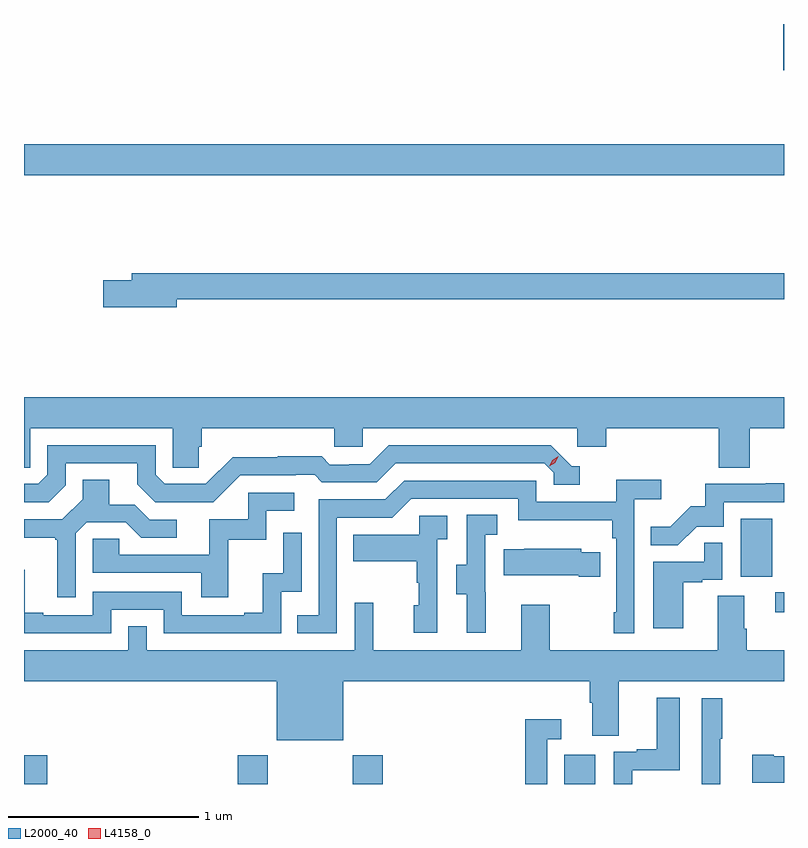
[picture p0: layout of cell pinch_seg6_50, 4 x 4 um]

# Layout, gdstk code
import gdstk
lib = gdstk.Library(unit=1e-6, precision=1e-09)
def R(c, l, rs):  # rectangles x0, y0, x1, y1
    for r in rs: c.add(gdstk.rectangle(r[:2], r[2:], *l))
def P(c, l, *ps):  # polygons
    for p in ps: c.add(gdstk.Polygon(p, *l))
L2000_40 = (2000, 40)
L4158_0 = (4158, 0)

pinch_seg6_50 = lib.new_cell('pinch_seg6_50')
R(pinch_seg6_50, L2000_40, [(983.433,938.804,983.555,938.956), (984.557,938.804,984.717,938.956), (985.162,938.804,985.322,938.956), (986.276,938.804,986.44,938.959), (987.387,939.708,987.433,939.813), (987.206,939.894,987.37,940.201), (983.433,942.008,987.433,942.172), (987.428,942.561,987.433,942.804)])
P(pinch_seg6_50, L2000_40, [(984.238,941.356),(987.433,941.356),(987.433,941.492),(983.999,941.492),(983.999,941.456),(983.85,941.456),(983.85,941.314),(984.238,941.314)],
  [(983.466,940.676),(984.216,940.676),(984.216,940.468),(984.353,940.468),(984.353,940.578),(984.368,940.578),(984.368,940.676),(985.065,940.676),(985.065,940.578),(985.215,940.578),(985.215,940.676),(986.346,940.676),(986.346,940.578),(986.498,940.578),(986.498,940.676),(987.089,940.676),(987.089,940.468),(987.254,940.468),(987.254,940.676),(987.433,940.676),(987.433,940.84),(983.433,940.84),(983.433,940.468),(983.466,940.468)],
  [(983.652,940.377),(983.652,940.491),(984.029,940.491),(984.029,940.381),(984.123,940.287),(984.429,940.287),(984.57,940.428),(984.863,940.428),(984.863,940.431),(984.962,940.431),(985.001,940.392),(985.29,940.392),(985.389,940.491),(986.172,940.491),(986.22,940.443),(986.22,940.38),(986.359,940.38),(986.359,940.476),(986.316,940.476),(986.205,940.587),(985.352,940.587),(985.253,940.488),(985.146,940.488),(985.146,940.485),(985.043,940.485),(985.001,940.528),(984.768,940.528),(984.768,940.525),(984.532,940.525),(984.39,940.383),(984.174,940.383),(984.126,940.431),(984.126,940.587),(983.556,940.587),(983.556,940.431),(983.508,940.383),(983.433,940.383),(983.433,940.287),(983.562,940.287)],
  [(985.08,940.206),(985.371,940.206),(985.47,940.305),(986.034,940.305),(986.034,940.193),(986.53,940.193),(986.53,940.097),(986.55,940.097),(986.55,939.709),(986.538,939.709),(986.538,939.597),(986.646,939.597),(986.646,940.304),(986.788,940.304),(986.788,940.406),(986.549,940.406),(986.549,940.29),(986.13,940.29),(986.13,940.401),(985.433,940.401),(985.334,940.302),(984.984,940.302),(984.984,939.693),(984.871,939.693),(984.871,939.597),(985.08,939.597)],
  [(983.706,940.125),(983.763,940.182),(983.969,940.182),(984.05,940.101),(984.238,940.101),(984.238,940.194),(984.096,940.194),(984.016,940.274),(983.881,940.274),(983.881,940.406),(983.741,940.406),(983.741,940.304),(983.634,940.197),(983.433,940.197),(983.433,940.1),(983.598,940.1),(983.598,940.089),(983.609,940.089),(983.609,939.786),(983.706,939.786)],
  [(986.973,940.158),(987.117,940.158),(987.117,940.287),(987.433,940.287),(987.433,940.388),(987.337,940.388),(987.337,940.383),(987.019,940.383),(987.019,940.266),(986.942,940.266),(986.835,940.159),(986.731,940.159),(986.731,940.06),(986.875,940.06)],
  [(984.509,940.089),(984.708,940.089),(984.708,940.242),(984.856,940.242),(984.856,940.338),(984.612,940.338),(984.612,940.197),(984.407,940.197),(984.407,940.011),(983.933,940.011),(983.933,940.095),(983.796,940.095),(983.796,939.915),(984.365,939.915),(984.365,939.786),(984.509,939.786)],
  [(985.862,939.813),(985.86,939.813),(985.86,940.117),(985.924,940.117),(985.924,940.22),(985.764,940.22),(985.764,939.957),(985.709,939.957),(985.709,939.802),(985.763,939.802),(985.763,939.6),(985.862,939.6)],
  [(985.608,940.091),(985.66,940.091),(985.66,940.215),(985.512,940.215),(985.512,940.117),(985.165,940.117),(985.165,939.977),(985.5,939.977),(985.5,939.863),(985.51,939.863),(985.51,939.744),(985.484,939.744),(985.484,939.6),(985.608,939.6)],
  [(983.892,939.72),(984.168,939.72),(984.168,939.597),(984.786,939.597),(984.786,939.816),(984.894,939.816),(984.894,940.126),(984.798,940.126),(984.798,939.914),(984.689,939.914),(984.689,939.706),(984.593,939.706),(984.593,939.693),(984.264,939.693),(984.264,939.816),(983.796,939.816),(983.796,939.693),(983.533,939.693),(983.533,939.706),(983.437,939.706),(983.437,939.931),(983.433,939.931),(983.433,939.597),(983.892,939.597)],
  [(986.902,939.867),(987.002,939.867),(987.002,939.879),(987.108,939.879),(987.108,940.073),(987.013,940.073),(987.013,939.975),(986.744,939.975),(986.744,939.624),(986.902,939.624)],
  [(986.465,940.024),(986.367,940.024),(986.367,940.042),(986.065,940.042),(986.065,940.039),(985.957,940.039),(985.957,939.902),(986.354,939.902),(986.354,939.895),(986.465,939.895)],
  [(985.114,939.344),(986.411,939.344),(986.411,939.232),(986.423,939.232),(986.423,939.058),(986.563,939.058),(986.563,939.344),(987.433,939.344),(987.433,939.508),(987.236,939.508),(987.236,939.62),(987.223,939.62),(987.223,939.794),(987.083,939.794),(987.083,939.508),(986.199,939.508),(986.199,939.748),(986.051,939.748),(986.051,939.508),(985.271,939.508),(985.271,939.757),(985.173,939.757),(985.173,939.508),(984.078,939.508),(984.078,939.635),(983.982,939.635),(983.982,939.508),(983.433,939.508),(983.433,939.344),(984.764,939.344),(984.764,939.035),(985.114,939.035)],
  [(986.633,938.877),(986.884,938.877),(986.884,939.259),(986.762,939.259),(986.762,938.986),(986.659,938.986),(986.659,938.973),(986.538,938.973),(986.538,938.804),(986.633,938.804)],
  [(987.097,939.043),(987.109,939.043),(987.109,939.256),(987,939.256),(987,938.804),(987.097,938.804)],
  [(986.187,939.039),(986.26,939.039),(986.26,939.145),(986.071,939.145),(986.071,938.804),(986.187,938.804)],
  [(987.433,938.95),(987.379,938.95),(987.379,938.958),(987.267,938.958),(987.267,938.81),(987.433,938.81)])
P(pinch_seg6_50, L4158_0, [(986.197,940.476),(986.197,940.476),(986.213,940.509),(986.244,940.528),(986.244,940.528),(986.244,940.527),(986.228,940.495),(986.197,940.476)])

lib.write_gds('pinch_seg6_50.gds')
